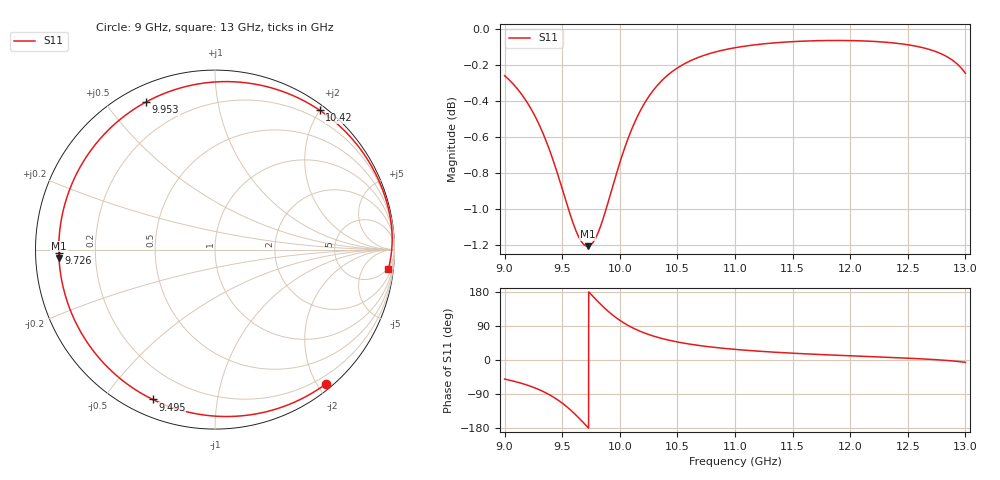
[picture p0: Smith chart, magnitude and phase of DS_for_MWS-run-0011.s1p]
! TOUCHSTONE file generated by CST DESIGN STUDIO
! Date and time: Tue Feb  4 18:05:02 2025
! Project name: C:\Work\MatlabApps\UnitCellOptimizationMatlab\CST\unitcell.cst
! Tree item: Tasks\Sweep1\SPara1\S-Parameters
! Header version: 2024
! Port assignment regex: !\s*Touchstone port\s*([0-9]+)\s*=\s*(CST MWS port|CST DES external port|CST DES block port)\s*(.+)\s* \(\"(.*)\"\)(\s*mode\s*([0-9]+))?.*
! Touchstone port assignment:
! Touchstone port 1 = CST DES external port 1 ("")
# GHz S MA R 50
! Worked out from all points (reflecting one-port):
!   4001 points, 9 GHz to 13 GHz, reference 50 ohm
!   lowest |S11| = -1.2 dB at 9.72 GHz (marker M1), VSWR 14.45, Z = 3.46 - j1.35 ohm
!   phase of S11 starts at -50 deg and turns -316 deg over the sweep
!   S11 on the Smith chart (normalised r, x): 9 GHz: 0.08, -2.13; 9.495 GHz: 0.07, -0.66; 9.726 GHz: 0.07, -0.01; 9.953 GHz: 0.07, +0.63; 10.42 GHz: 0.07, +2.00; 13 GHz: 4, -17
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9  0.9708 -50.3
9.136  0.9604 -60.6
9.263  0.9461 -73.6
9.394  0.925 -92.6
9.495  0.9042 -112.6
9.5  0.9031 -113.7
9.552  0.8919 -126.5
9.603  0.8819 -140.4
9.665  0.8732 -159.2
9.72  0.8705 -176.9
9.726  0.8706 -178.8
9.772  0.8731 166.2
9.821  0.8796 150.8
9.887  0.8927 131.7
9.953  0.9078 115.0
10  0.9183 104.7
10.086  0.9352 88.9
10.195  0.9515 73.5
10.299  0.9625 62.5
10.416  0.9712 53.0
10.5  0.9756 47.6
10.718  0.9832 37.1
11  0.9883 28.0
11.5  0.9922 17.9
12  0.9929 11.1
12.5  0.9902 4.8
12.795  0.9844 -0.2
13  0.9724 -6.2
